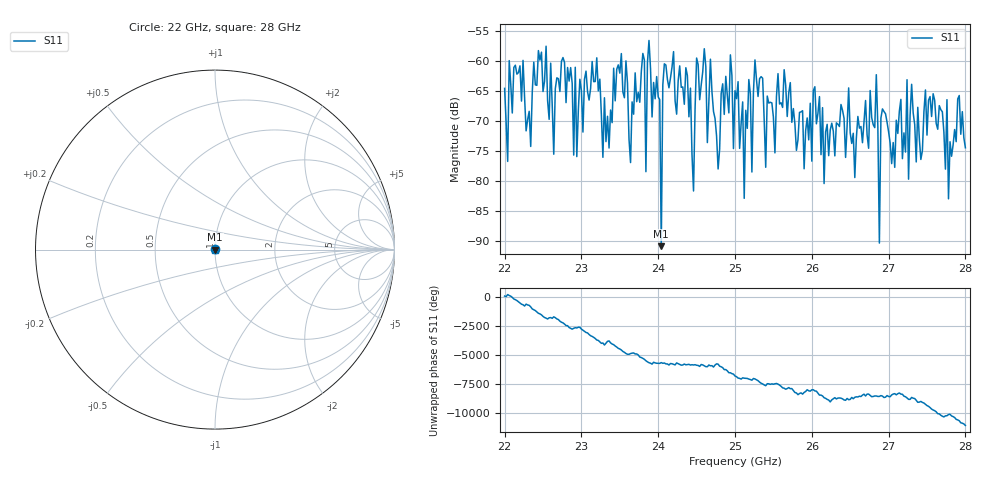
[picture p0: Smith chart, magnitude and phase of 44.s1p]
#  HZ  S  RI  R  50.00
! Rohde & Schwarz ZVA40 4Ports - Version 3.90 - 1145.1110k42 SN: 100403
! Date: 2023-10-04 07:56:18
! Measurement: S12
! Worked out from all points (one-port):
!   301 points, 22 GHz to 28 GHz, reference 50 ohm
!   lowest |S11| = -90.8 dB at 24.04 GHz (marker M1), VSWR 1.00, Z = 50 + j0.00204 ohm
!   |S11| at or under -10 dB: start of sweep to end of sweep
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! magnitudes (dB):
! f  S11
! 22 GHz  -64.6
! 22.34 GHz  -74.2
! 22.54 GHz  -57.5
! 22.64 GHz  -75.5
! 22.76 GHz  -59.4
! 22.92 GHz  -61.0
! 22.94 GHz  -75.9
! 23.5 GHz  -62.0
! 23.64 GHz  -76.9
! 23.8 GHz  -58.7
! 23.84 GHz  -78.4
! 23.88 GHz  -56.6
! 24.04 GHz  -90.8
! 24.08 GHz  -60.5
! 24.26 GHz  -63.3
! 24.46 GHz  -81.6
! 24.5 GHz  -59.5
! 24.78 GHz  -78.0
! 25 GHz  -64.9
! 25.12 GHz  -82.9
! 25.26 GHz  -59.8
! 25.4 GHz  -77.7
! 25.76 GHz  -67.9
! 26.5 GHz  -71.9
! 27.24 GHz  -63.1
! 27.26 GHz  -79.7
! 27.3 GHz  -63.9
! 28 GHz  -74.4
